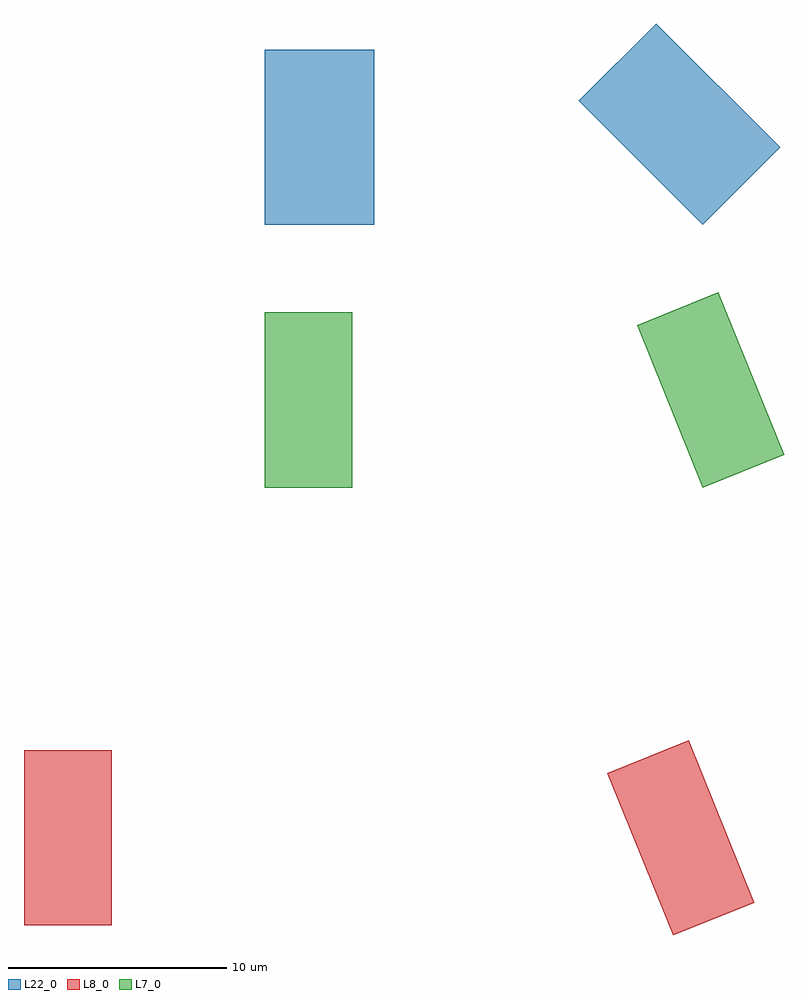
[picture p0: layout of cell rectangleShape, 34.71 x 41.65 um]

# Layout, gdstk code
import gdstk
lib = gdstk.Library(unit=1e-6, precision=1e-09)
def R(c, l, rs):  # rectangles x0, y0, x1, y1
    for r in rs: c.add(gdstk.rectangle(r[:2], r[2:], *l))
def P(c, l, *ps):  # polygons
    for p in ps: c.add(gdstk.Polygon(p, *l))
L7_0 = (7, 0)
L8_0 = (8, 0)
L22_0 = (22, 0)

rectangleshape = lib.new_cell('rectangleShape')
R(rectangleshape, L7_0, [(-5,8,-1,16)])
P(rectangleshape, L7_0, [(15,8),(12.003,15.417),(15.712,16.916),(18.709,9.498)])
R(rectangleshape, L8_0, [(-16,-12,-12,-4)])
P(rectangleshape, L8_0, [(13.644,-12.458),(10.647,-5.04),(14.356,-3.542),(17.353,-10.96)])
R(rectangleshape, L22_0, [(-5,20,0,28)])
P(rectangleshape, L22_0, [(15,20),(9.343,25.657),(12.879,29.192),(18.536,23.536)])

lib.write_gds('rectangleShape.gds')
